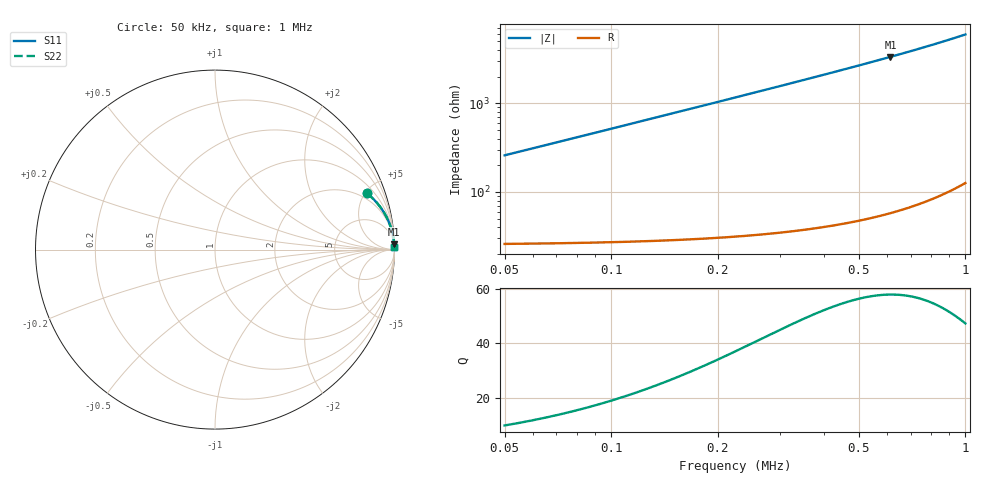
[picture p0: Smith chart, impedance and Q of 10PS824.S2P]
! Coilcraft 1008PS-824 Power Chip Inductor
! 7 October 2002
# MHZ S MA R 50
!Freq  MagS11  AngS11  MagS21  AngS21  MagS12  AngS12  MagS22  AngS22
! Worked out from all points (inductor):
!   402 points, 50 kHz to 1 MHz, reference 50 ohm
!   read as one part in series: L = 820 uH near 54.74 kHz
!   highest Q = 57.8 at 614.1 kHz (marker M1), where L = 864 uH
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0.05  0.9028 20.3  0.349 -63.9  0.349 -63.9  0.9028 20.3
0.05474  0.9167 18.8  0.3239 -65.9  0.3239 -65.9  0.9167 18.8
0.06422  0.9372 16.4  0.2825 -69.1  0.2825 -69.1  0.9372 16.4
0.07133  0.948 14.9  0.2574 -71.0  0.2574 -71.0  0.948 14.9
0.07844  0.9563 13.6  0.2362 -72.6  0.2362 -72.6  0.9563 13.6
0.08792  0.9647 12.3  0.2126 -74.4  0.2126 -74.4  0.9647 12.3
0.0974  0.9708 11.1  0.1932 -75.8  0.1932 -75.8  0.9708 11.1
0.11636  0.9792 9.4  0.1631 -78.0  0.1631 -78.0  0.9792 9.4
0.13769  0.9849 8.0  0.1385 -79.8  0.1385 -79.8  0.9849 8.0
0.15902  0.9885 6.9  0.1203 -81.1  0.1203 -81.1  0.9885 6.9
0.18272  0.9912 6.0  0.1049 -82.2  0.1049 -82.2  0.9912 6.0
0.20879  0.9932 5.3  0.09185 -83.1  0.09185 -83.1  0.9932 5.3
0.24197  0.9948 4.5  0.07923 -84.0  0.07923 -84.0  0.9948 4.5
0.27989  0.9961 3.9  0.0684 -84.7  0.0684 -84.7  0.9961 3.9
0.32255  0.997 3.4  0.0592 -85.4  0.0592 -85.4  0.997 3.4
0.36758  0.9976 3.0  0.05176 -85.9  0.05176 -85.9  0.9976 3.0
0.44105  0.9983 2.5  0.04281 -86.5  0.04281 -86.5  0.9983 2.5
0.52637  0.9987 2.0  0.03547 -87.0  0.03547 -87.0  0.9987 2.0
0.61406  0.999 1.7  0.02998 -87.3  0.02998 -87.3  0.999 1.7
0.68516  0.9992 1.5  0.02652 -87.5  0.02652 -87.5  0.9992 1.5
0.84395  0.9994 1.2  0.02077 -87.7  0.02077 -87.7  0.9994 1.2
1  0.9995 1.0  0.01676 -87.8  0.01676 -87.8  0.9995 1.0
